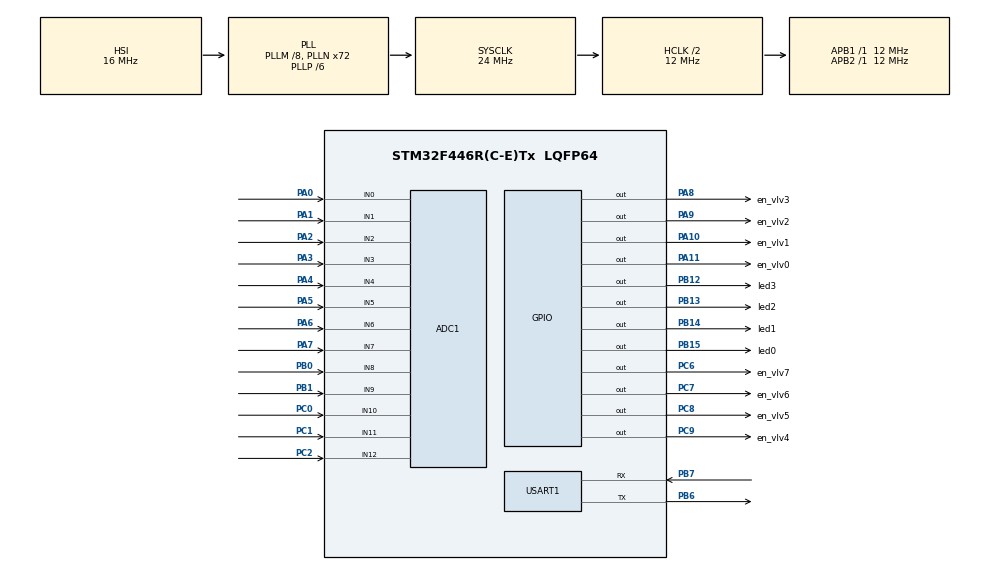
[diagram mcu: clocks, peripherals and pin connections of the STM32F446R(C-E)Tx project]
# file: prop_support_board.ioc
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ADC1.Channel-0\#ChannelRegularConversion=ADC_CHANNEL_0
ADC1.NbrOfConversionFlag=1
ADC1.Rank-0\#ChannelRegularConversion=1
ADC1.SamplingTime-0\#ChannelRegularConversion=ADC_SAMPLETIME_3CYCLES
ADC1.master=1
Mcu.Family=STM32F4
Mcu.Name=STM32F446R(C-E)Tx
Mcu.Package=LQFP64
NVIC.PriorityGroup=NVIC_PRIORITYGROUP_4
PA0-WKUP.Signal=ADCx_IN0
PA1.Signal=ADCx_IN1
PA10.GPIO_Label=en_vlv1
PA10.Signal=GPIO_Output
PA11.GPIO_Label=en_vlv0
PA11.Signal=GPIO_Output
PA13.Mode=Trace_Asynchronous_SW
PA13.Signal=SYS_JTMS-SWDIO
PA14.Mode=Trace_Asynchronous_SW
PA14.Signal=SYS_JTCK-SWCLK
PA2.Signal=ADCx_IN2
PA3.Signal=ADCx_IN3
PA4.Signal=ADCx_IN4
PA5.Signal=ADCx_IN5
PA6.Signal=ADCx_IN6
PA7.Signal=ADCx_IN7
PA8.GPIO_Label=en_vlv3
PA8.Signal=GPIO_Output
PA9.GPIO_Label=en_vlv2
PA9.Signal=GPIO_Output
PB0.Signal=ADCx_IN8
PB1.Signal=ADCx_IN9
PB12.GPIO_Label=led3
PB12.Signal=GPIO_Output
PB13.GPIO_Label=led2
PB13.Signal=GPIO_Output
PB14.GPIO_Label=led1
PB14.Signal=GPIO_Output
PB15.GPIO_Label=led0
PB15.Signal=GPIO_Output
PB3.Mode=Trace_Asynchronous_SW
PB3.Signal=SYS_JTDO-SWO
PB6.Mode=Asynchronous
PB6.Signal=USART1_TX
PB7.Mode=Asynchronous
PB7.Signal=USART1_RX
PC0.Signal=ADCx_IN10
PC1.Signal=ADCx_IN11
PC2.Signal=ADCx_IN12
PC6.GPIO_Label=en_vlv7
PC6.Signal=GPIO_Output
PC7.GPIO_Label=en_vlv6
PC7.Signal=GPIO_Output
PC8.GPIO_Label=en_vlv5
PC8.Signal=GPIO_Output
PC9.GPIO_Label=en_vlv4
PC9.Signal=GPIO_Output
ProjectManager.HeapSize=0x200
ProjectManager.StackSize=0x400
ProjectManager.TargetToolchain=TrueSTUDIO
RCC.AHBCLKDivider=RCC_SYSCLK_DIV2
RCC.AHBFreq_Value=12000000
RCC.APB1Freq_Value=12000000
RCC.APB1TimFreq_Value=12000000
RCC.APB2Freq_Value=12000000
RCC.APB2TimFreq_Value=12000000
RCC.CortexFreq_Value=12000000
RCC.HCLKFreq_Value=12000000
RCC.PLLM=8
RCC.PLLN=72
RCC.PLLP=RCC_PLLP_DIV6
RCC.SYSCLKFreq_VALUE=24000000
RCC.SYSCLKSource=RCC_SYSCLKSOURCE_PLLCLK
RCC.USBFreq_Value=72000000
RCC.VCOOutputFreq_Value=144000000
SH.ADCx_IN0.0=ADC1_IN0,IN0
SH.ADCx_IN1.0=ADC1_IN1,IN1
SH.ADCx_IN10.0=ADC1_IN10,IN10
SH.ADCx_IN11.0=ADC1_IN11,IN11
SH.ADCx_IN12.0=ADC1_IN12,IN12
SH.ADCx_IN2.0=ADC1_IN2,IN2
SH.ADCx_IN3.0=ADC1_IN3,IN3
SH.ADCx_IN4.0=ADC1_IN4,IN4
SH.ADCx_IN5.0=ADC1_IN5,IN5
SH.ADCx_IN6.0=ADC1_IN6,IN6
SH.ADCx_IN7.0=ADC1_IN7,IN7
SH.ADCx_IN8.0=ADC1_IN8,IN8
SH.ADCx_IN9.0=ADC1_IN9,IN9
USART1.VirtualMode=VM_ASYNC
board=custom

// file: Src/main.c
/* USER CODE BEGIN Header */
/**
  ******************************************************************************
  * @file           : main.c
  * @brief          : Main program body
  ******************************************************************************
  ** This notice applies to any and all portions of this file
  * that are not between comment pairs USER CODE BEGIN and
  * USER CODE END. Other portions of this file, whether
  * inserted by the user or by software development tools
  * are owned by their respective copyright owners.
  *
  * COPYRIGHT(c) 2019 STMicroelectronics
  *
  * Redistribution and use in source and binary forms, with or without modification,
  * are permitted provided that the following conditions are met:
  *   1. Redistributions of source code must retain the above copyright notice,
  *      this list of conditions and the following disclaimer.
  *   2. Redistributions in binary form must reproduce the above copyright notice,
  *      this list of conditions and the following disclaimer in the documentation
  *      and/or other materials provided with the distribution.
  *   3. Neither the name of STMicroelectronics nor the names of its contributors
  *      may be used to endorse or promote products derived from this software
  *      without specific prior written permission.
  *
  * THIS SOFTWARE IS PROVIDED BY THE COPYRIGHT HOLDERS AND CONTRIBUTORS "AS IS"
  * AND ANY EXPRESS OR IMPLIED WARRANTIES, INCLUDING, BUT NOT LIMITED TO, THE
  * IMPLIED WARRANTIES OF MERCHANTABILITY AND FITNESS FOR A PARTICULAR PURPOSE ARE
  * DISCLAIMED. IN NO EVENT SHALL THE COPYRIGHT HOLDER OR CONTRIBUTORS BE LIABLE
  * FOR ANY DIRECT, INDIRECT, INCIDENTAL, SPECIAL, EXEMPLARY, OR CONSEQUENTIAL
  * DAMAGES (INCLUDING, BUT NOT LIMITED TO, PROCUREMENT OF SUBSTITUTE GOODS OR
  * SERVICES; LOSS OF USE, DATA, OR PROFITS; OR BUSINESS INTERRUPTION) HOWEVER
  * CAUSED AND ON ANY THEORY OF LIABILITY, WHETHER IN CONTRACT, STRICT LIABILITY,
  * OR TORT (INCLUDING NEGLIGENCE OR OTHERWISE) ARISING IN ANY WAY OUT OF THE USE
  * OF THIS SOFTWARE, EVEN IF ADVISED OF THE POSSIBILITY OF SUCH DAMAGE.
  *
  ******************************************************************************
  */
/* USER CODE END Header */

#include "main.h"

ADC_HandleTypeDef hadc1;

UART_HandleTypeDef huart1;

void SystemClock_Config(void);
static void MX_GPIO_Init(void);
static void MX_ADC1_Init(void);
static void MX_USART1_UART_Init(void);

int main(void)
{

  /* MCU Configuration--------------------------------------------------------*/

  /* Reset of all peripherals, Initializes the Flash interface and the Systick. */
  HAL_Init();

  /* Configure the system clock */
  SystemClock_Config();

  /* Initialize all configured peripherals */
  MX_GPIO_Init();
  MX_ADC1_Init();
  MX_USART1_UART_Init();

  /* Infinite loop */
  while (1)
  {

    /* USER CODE BEGIN 3 */
	  uint16_t delay = 200;
	  GPIO_TypeDef* led_ports[4] = {led0_GPIO_Port, led1_GPIO_Port, led2_GPIO_Port, led3_GPIO_Port};
	  uint16_t led_pins[4] = {led0_Pin, led1_Pin, led2_Pin, led3_Pin};
	  HAL_GPIO_WritePin(en_vlv0_Pin, en_vlv0_GPIO_Port, GPIO_PIN_SET);
	  HAL_GPIO_WritePin(en_vlv1_Pin, en_vlv1_GPIO_Port, GPIO_PIN_SET);
	  HAL_GPIO_WritePin(en_vlv2_Pin, en_vlv2_GPIO_Port, GPIO_PIN_SET);
	  HAL_GPIO_WritePin(en_vlv3_Pin, en_vlv3_GPIO_Port, GPIO_PIN_SET);
	  HAL_GPIO_WritePin(en_vlv4_Pin, en_vlv4_GPIO_Port, GPIO_PIN_SET);
	  HAL_GPIO_WritePin(en_vlv5_Pin, en_vlv5_GPIO_Port, GPIO_PIN_SET);
	  HAL_GPIO_WritePin(en_vlv6_Pin, en_vlv6_GPIO_Port, GPIO_PIN_SET);
	  HAL_GPIO_WritePin(en_vlv7_Pin, en_vlv7_GPIO_Port, GPIO_PIN_SET);
	  for(int i=0; i<=3; i++){
		  HAL_GPIO_WritePin(led_ports[i], led_pins[i], GPIO_PIN_SET);
		  HAL_Delay(delay);
	  }
	  for(int i=0; i<=3; i++){
	  		  HAL_GPIO_WritePin(led_ports[i], led_pins[i], GPIO_PIN_RESET);
	  		  HAL_Delay(delay);
	  }

  }
  /* USER CODE END 3 */
}

void SystemClock_Config(void)
{
  RCC_OscInitTypeDef RCC_OscInitStruct = {0};
  RCC_ClkInitTypeDef RCC_ClkInitStruct = {0};

  /**Configure the main internal regulator output voltage
  */
  __HAL_RCC_PWR_CLK_ENABLE();
  __HAL_PWR_VOLTAGESCALING_CONFIG(PWR_REGULATOR_VOLTAGE_SCALE3);
  /**Initializes the CPU, AHB and APB busses clocks
  */
  RCC_OscInitStruct.OscillatorType = RCC_OSCILLATORTYPE_HSI;
  RCC_OscInitStruct.HSIState = RCC_HSI_ON;
  RCC_OscInitStruct.HSICalibrationValue = RCC_HSICALIBRATION_DEFAULT;
  RCC_OscInitStruct.PLL.PLLState = RCC_PLL_ON;
  RCC_OscInitStruct.PLL.PLLSource = RCC_PLLSOURCE_HSI;
  RCC_OscInitStruct.PLL.PLLM = 8;
  RCC_OscInitStruct.PLL.PLLN = 72;
  RCC_OscInitStruct.PLL.PLLP = RCC_PLLP_DIV6;
  RCC_OscInitStruct.PLL.PLLQ = 2;
  RCC_OscInitStruct.PLL.PLLR = 2;
  if (HAL_RCC_OscConfig(&RCC_OscInitStruct) != HAL_OK)
  {
    Error_Handler();
  }
  /**Initializes the CPU, AHB and APB busses clocks
  */
  RCC_ClkInitStruct.ClockType = RCC_CLOCKTYPE_HCLK|RCC_CLOCKTYPE_SYSCLK
                              |RCC_CLOCKTYPE_PCLK1|RCC_CLOCKTYPE_PCLK2;
  RCC_ClkInitStruct.SYSCLKSource = RCC_SYSCLKSOURCE_PLLCLK;
  RCC_ClkInitStruct.AHBCLKDivider = RCC_SYSCLK_DIV2;
  RCC_ClkInitStruct.APB1CLKDivider = RCC_HCLK_DIV1;
  RCC_ClkInitStruct.APB2CLKDivider = RCC_HCLK_DIV1;

  if (HAL_RCC_ClockConfig(&RCC_ClkInitStruct, FLASH_LATENCY_0) != HAL_OK)
  {
    Error_Handler();
  }
}

static void MX_ADC1_Init(void)
{

  ADC_ChannelConfTypeDef sConfig = {0};

  /**Configure the global features of the ADC (Clock, Resolution, Data Alignment and number of conversion)
  */
  hadc1.Instance = ADC1;
  hadc1.Init.ClockPrescaler = ADC_CLOCK_SYNC_PCLK_DIV2;
  hadc1.Init.Resolution = ADC_RESOLUTION_12B;
  hadc1.Init.ScanConvMode = DISABLE;
  hadc1.Init.ContinuousConvMode = DISABLE;
  hadc1.Init.DiscontinuousConvMode = DISABLE;
  hadc1.Init.ExternalTrigConvEdge = ADC_EXTERNALTRIGCONVEDGE_NONE;
  hadc1.Init.ExternalTrigConv = ADC_SOFTWARE_START;
  hadc1.Init.DataAlign = ADC_DATAALIGN_RIGHT;
  hadc1.Init.NbrOfConversion = 1;
  hadc1.Init.DMAContinuousRequests = DISABLE;
  hadc1.Init.EOCSelection = ADC_EOC_SINGLE_CONV;
  if (HAL_ADC_Init(&hadc1) != HAL_OK)
  {
    Error_Handler();
  }
  /**Configure for the selected ADC regular channel its corresponding rank in the sequencer and its sample time.
  */
  sConfig.Channel = ADC_CHANNEL_0;
  sConfig.Rank = 1;
  sConfig.SamplingTime = ADC_SAMPLETIME_3CYCLES;
  if (HAL_ADC_ConfigChannel(&hadc1, &sConfig) != HAL_OK)
  {
    Error_Handler();
  }

}

static void MX_USART1_UART_Init(void)
{

  huart1.Instance = USART1;
  huart1.Init.BaudRate = 115200;
  huart1.Init.WordLength = UART_WORDLENGTH_8B;
  huart1.Init.StopBits = UART_STOPBITS_1;
  huart1.Init.Parity = UART_PARITY_NONE;
  huart1.Init.Mode = UART_MODE_TX_RX;
  huart1.Init.HwFlowCtl = UART_HWCONTROL_NONE;
  huart1.Init.OverSampling = UART_OVERSAMPLING_16;
  if (HAL_UART_Init(&huart1) != HAL_OK)
  {
    Error_Handler();
  }

}

static void MX_GPIO_Init(void)
{
  GPIO_InitTypeDef GPIO_InitStruct = {0};

  /* GPIO Ports Clock Enable */
  __HAL_RCC_GPIOC_CLK_ENABLE();
  __HAL_RCC_GPIOA_CLK_ENABLE();
  __HAL_RCC_GPIOB_CLK_ENABLE();

  /*Configure GPIO pin Output Level */
  HAL_GPIO_WritePin(GPIOB, led3_Pin|led2_Pin|led1_Pin|led0_Pin, GPIO_PIN_RESET);

  /*Configure GPIO pin Output Level */
  HAL_GPIO_WritePin(GPIOC, en_vlv7_Pin|en_vlv6_Pin|en_vlv5_Pin|en_vlv4_Pin, GPIO_PIN_RESET);

  /*Configure GPIO pin Output Level */
  HAL_GPIO_WritePin(GPIOA, en_vlv3_Pin|en_vlv2_Pin|en_vlv1_Pin|en_vlv0_Pin, GPIO_PIN_RESET);

  /*Configure GPIO pins : led3_Pin led2_Pin led1_Pin led0_Pin */
  GPIO_InitStruct.Pin = led3_Pin|led2_Pin|led1_Pin|led0_Pin;
  GPIO_InitStruct.Mode = GPIO_MODE_OUTPUT_PP;
  GPIO_InitStruct.Pull = GPIO_NOPULL;
  GPIO_InitStruct.Speed = GPIO_SPEED_FREQ_LOW;
  HAL_GPIO_Init(GPIOB, &GPIO_InitStruct);

  /*Configure GPIO pins : en_vlv7_Pin en_vlv6_Pin en_vlv5_Pin en_vlv4_Pin */
  GPIO_InitStruct.Pin = en_vlv7_Pin|en_vlv6_Pin|en_vlv5_Pin|en_vlv4_Pin;
  GPIO_InitStruct.Mode = GPIO_MODE_OUTPUT_PP;
  GPIO_InitStruct.Pull = GPIO_NOPULL;
  GPIO_InitStruct.Speed = GPIO_SPEED_FREQ_LOW;
  HAL_GPIO_Init(GPIOC, &GPIO_InitStruct);

  /*Configure GPIO pins : en_vlv3_Pin en_vlv2_Pin en_vlv1_Pin en_vlv0_Pin */
  GPIO_InitStruct.Pin = en_vlv3_Pin|en_vlv2_Pin|en_vlv1_Pin|en_vlv0_Pin;
  GPIO_InitStruct.Mode = GPIO_MODE_OUTPUT_PP;
  GPIO_InitStruct.Pull = GPIO_NOPULL;
  GPIO_InitStruct.Speed = GPIO_SPEED_FREQ_LOW;
  HAL_GPIO_Init(GPIOA, &GPIO_InitStruct);

}

void Error_Handler(void)
{
}

/************************ (C) COPYRIGHT STMicroelectronics *****END OF FILE****/
